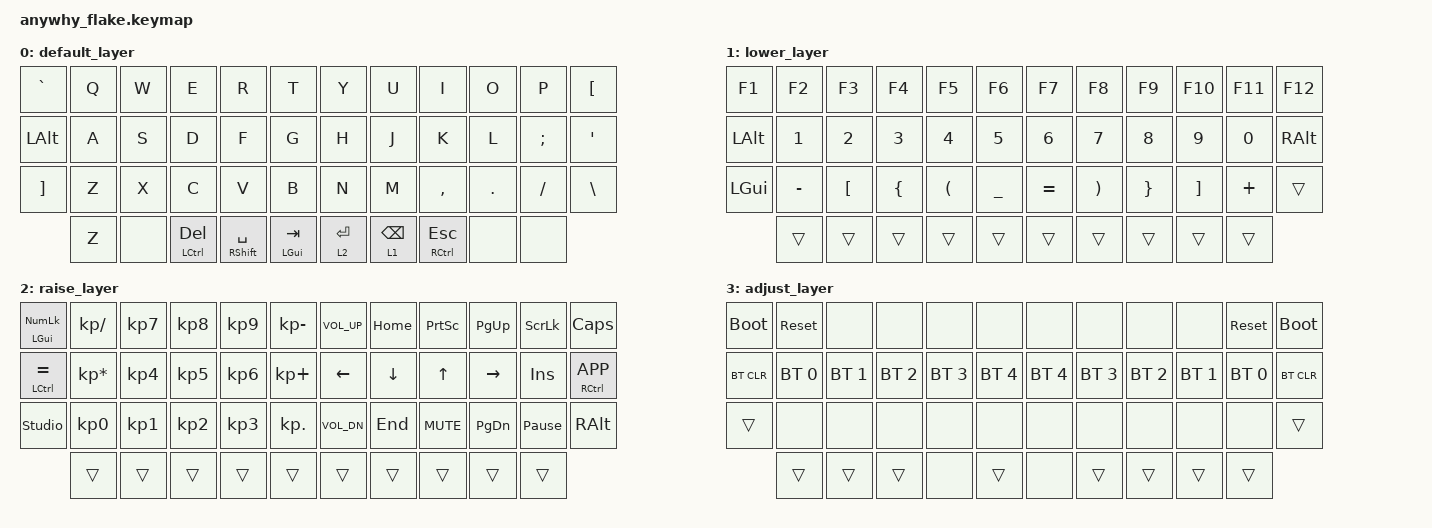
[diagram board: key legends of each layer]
#include <behaviors.dtsi>
#include <dt-bindings/zmk/bt.h>
#include <dt-bindings/zmk/keys.h>

#define DEF 0
#define LWR 1
#define RSE 2
#define ADJ 3

&lt { quick-tap-ms = <200>; };

&mt { quick-tap-ms = <200>; };

/ {
    conditional_layers {
        compatible = "zmk,conditional-layers";

        tri-layer {
            if-layers = <1 2>;
            then-layer = <3>;
        };
    };

    keymap {
        compatible = "zmk,keymap";

        default_layer {
            bindings = <
&kp GRAVE          &kp Q  &kp W  &kp E          &kp R                  &kp T               &kp Y        &kp U            &kp I             &kp O    &kp P     &kp LEFT_BRACKET
&kp LEFT_ALT       &kp A  &kp S  &kp D          &kp F                  &kp G               &kp H        &kp J            &kp K             &kp L    &kp SEMI  &kp APOS
&kp RIGHT_BRACKET  &kp Z  &kp X  &kp C          &kp V                  &kp B               &kp N        &kp M            &kp COMMA         &kp DOT  &kp FSLH  &kp BACKSLASH
                   &kp Z  &none  &mt LCTRL DEL  &mt RIGHT_SHIFT SPACE  &mt LEFT_GUI TAB    &lt 2 ENTER  &lt 1 BACKSPACE  &mt RCTRL ESCAPE  &none    &none
            >;
        };

        lower_layer {
            bindings = <
&kp F1        &kp F2        &kp F3            &kp F4          &kp F5                &kp F6       &kp F7        &kp F8                 &kp F9           &kp F10            &kp F11   &kp F12
&kp LEFT_ALT  &kp NUMBER_1  &kp NUMBER_2      &kp NUMBER_3    &kp NUMBER_4          &kp N5       &kp NUMBER_6  &kp N7                 &kp N8           &kp N9             &kp N0    &kp RIGHT_ALT
&kp LEFT_GUI  &kp MINUS     &kp LEFT_BRACKET  &kp LEFT_BRACE  &kp LEFT_PARENTHESIS  &kp UNDER    &kp EQUAL     &kp RIGHT_PARENTHESIS  &kp RIGHT_BRACE  &kp RIGHT_BRACKET  &kp PLUS  &trans
              &trans        &trans            &trans          &trans                &trans       &trans        &trans                 &trans           &trans             &trans
            >;
        };

        raise_layer {
            bindings = <
&mt LGUI KP_NUM  &kp KP_SLASH     &kp KP_N7  &kp KP_N8  &kp KP_N9  &kp KP_MINUS    &kp C_VOL_UP  &kp HOME  &kp PSCRN   &kp PG_UP  &kp SLCK         &kp CLCK
&mt LCTRL EQUAL  &kp KP_MULTIPLY  &kp KP_N4  &kp KP_N5  &kp KP_N6  &kp KP_PLUS     &kp LEFT      &kp DOWN  &kp UP      &kp RIGHT  &kp INS          &mt RCTRL K_APP
&studio_unlock   &kp KP_N0        &kp KP_N1  &kp KP_N2  &kp KP_N3  &kp KP_DOT      &kp C_VOL_DN  &kp END   &kp C_MUTE  &kp PG_DN  &kp PAUSE_BREAK  &kp RALT
                 &trans           &trans     &trans     &trans     &trans          &trans        &trans    &trans      &trans     &trans
            >;
        };

        adjust_layer {
            bindings = <
&bootloader  &sys_reset    &none         &none         &none         &none           &none         &none         &none         &none         &sys_reset    &bootloader
&bt BT_CLR   &bt BT_SEL 0  &bt BT_SEL 1  &bt BT_SEL 2  &bt BT_SEL 3  &bt BT_SEL 4    &bt BT_SEL 4  &bt BT_SEL 3  &bt BT_SEL 2  &bt BT_SEL 1  &bt BT_SEL 0  &bt BT_CLR
&trans       &none         &none         &none         &none         &none           &none         &none         &none         &none         &none         &trans
             &trans        &trans        &trans        &none         &trans          &none         &trans        &trans        &trans        &trans
            >;
        };
    };
};
